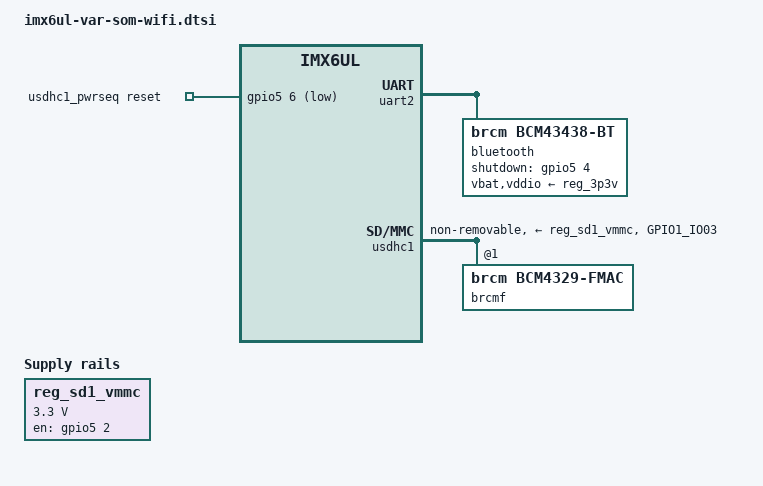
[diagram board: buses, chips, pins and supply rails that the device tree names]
// SPDX-License-Identifier: GPL-2.0+
/*
 * Support optional Wifi/Bluetooth on Variscite VAR-SOM-6UL module.
 *
 * Copyright 2019-2024 Variscite Ltd.
 * Copyright 2026 Dimonoff
 */

/ {
	reg_sd1_vmmc: regulator_sd1_vmmc {
		compatible = "regulator-fixed";
		regulator-name = "VMMC1";
		regulator-min-microvolt = <3300000>;
		regulator-max-microvolt = <3300000>;
		gpio = <&gpio5 2 GPIO_ACTIVE_HIGH>;
		enable-active-high;
		startup-delay-us = <10000>;
	};

	usdhc1_pwrseq: usdhc1-pwrseq {
		compatible = "mmc-pwrseq-simple";
		pinctrl-names = "default";
		pinctrl-0 = <&pinctrl_brcm_wifi>;
		reset-gpios = <&gpio5 6 GPIO_ACTIVE_LOW>;
	};
};

&iomuxc {
	pinctrl_32k_clk: 32kclkgrp {
		/*
		 * For TP option, an additional oscillator is assembled on the
		 * SOM to provide 32 kHz to the WiFi module. Without TP option,
		 * this pin is configured to provide the 32 KHz clock to the
		 * WiFi module.
		 */
		fsl,pins = <
			MX6UL_PAD_GPIO1_IO03__OSC32K_32K_OUT	0x03029
		>;
	};
};

&tsc {
	status = "disabled";
};

/* Bluetooth UART */
&uart2 {
	bluetooth {
		compatible = "brcm,bcm43438-bt";
		pinctrl-names = "default";
		pinctrl-0 = <&pinctrl_brcm_bt>;
		shutdown-gpios = <&gpio5 4 GPIO_ACTIVE_HIGH>;
		vbat-supply = <&reg_3p3v>;
		vddio-supply = <&reg_3p3v>;
	};
};

&usdhc1 {
	#address-cells = <1>;
	#size-cells = <0>;
	pinctrl-names = "default", "state_100mhz", "state_200mhz";
	pinctrl-0 = <&pinctrl_usdhc1>, <&pinctrl_32k_clk>;
	pinctrl-1 = <&pinctrl_usdhc1_100mhz>, <&pinctrl_32k_clk>;
	pinctrl-2 = <&pinctrl_usdhc1_200mhz>, <&pinctrl_32k_clk>;
	no-1-8-v;
	non-removable;
	mmc-pwrseq = <&usdhc1_pwrseq>;
	vmmc-supply = <&reg_sd1_vmmc>;
	status = "okay";

	brcmf: wifi@1 {
		compatible = "brcm,bcm4329-fmac"; /* LWB option: Sterling LWB5 */
		reg = <1>;
	};
};
